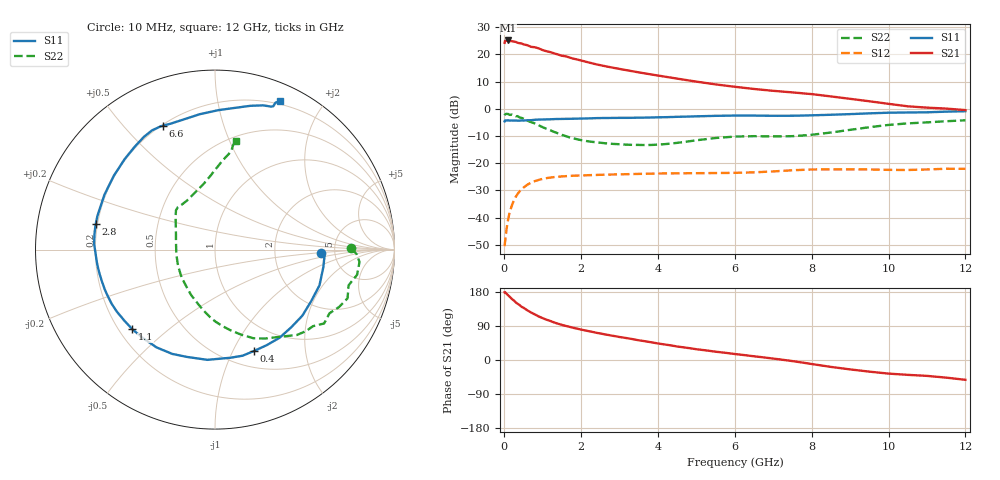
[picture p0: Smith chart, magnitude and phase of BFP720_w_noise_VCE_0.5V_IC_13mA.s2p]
! Infineon Technologies  Discrete & RF Semiconductors
! BFP720
! VCE =  0.5 V,  IC =  13 mA
! Common Emitter S-Parameters:  Aug 2012
# GHz  S  MA  R  50
!  f  S11  S21  S12  S22
! GHz  MAG  ANG  MAG  ANG  MAG  ANG  MAG  ANG
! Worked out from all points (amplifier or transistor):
!   105 points, 10 MHz to 12 GHz, reference 50 ohm
!   highest |S21| = 25.1 dB at 100 MHz (marker M1)
!   |S21| within 3 dB of that: start of sweep to 912.2 MHz
!   unconditionally stable (mu >= 1): start of sweep to 78.97 MHz; 3.673 GHz to end of sweep
!   at 300 MHz: K = 0.37, MSG = 28.4 dB, |S12| = -32.3 dB
!   at 3.6 GHz: K = 0.98, MSG = 18.5 dB, |S12| = -23.9 dB
!   at 12 GHz: K = 1.18, MAG = 8.2 dB, |S12| = -22.0 dB
!   lowest NFmin = 0.59 dB at 450 MHz
!   S11 on the Smith chart (normalised r, x): 10 MHz: 3.85, -0.24; 400 MHz: 0.68, -1.22; 1.1 GHz: 0.25, -0.38; 2.8 GHz: 0.19, +0.10; 6.6 GHz: 0.21, +0.64; 12 GHz: 0.17, +1.52
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0.01  0.5889 -2.0  16.24 178.8  0.003 14.4  0.7588 0.5
0.02  0.6112 -3.4  17.7 179.2  0.0035 29.9  0.7894 -1.8
0.1  0.6153 -18.9  17.99 170.8  0.0091 64.5  0.8042 -10.0
0.2  0.6103 -37.1  17.44 160.9  0.0169 65.6  0.7867 -20.2
0.3  0.6088 -53.8  16.91 152.0  0.0242 60.5  0.7299 -29.1
0.4  0.6051 -68.8  15.99 145.1  0.0305 56.1  0.6929 -38.0
0.45  0.6109 -75.4  15.85 140.5  0.0331 53.8  0.6813 -41.7
0.6  0.6157 -93.9  14.71 131.1  0.0403 46.9  0.6054 -53.4
0.7  0.618 -104.6  13.74 125.3  0.0441 42.9  0.5683 -60.7
0.8  0.6281 -112.3  13.48 120.1  0.047 39.5  0.5379 -66.6
0.9  0.6348 -120.9  12.84 114.8  0.0495 36.2  0.4966 -72.8
1.1  0.6395 -136.0  11.41 106.4  0.0533 30.4  0.4287 -84.3
1.5  0.6516 -157.2  9.425 92.7  0.0573 22.3  0.3322 -103.5
2.1  0.6636 -176.2  7.393 78.2  0.06 15.0  0.2582 -128.8
2.8  0.6798 168.0  5.732 64.3  0.0621 9.7  0.2274 -151.9
4.1  0.6996 142.0  3.976 42.1  0.0649 2.7  0.2222 167.9
5  0.7278 127.7  3.154 28.4  0.0657 -1.2  0.2643 145.9
6.1  0.7508 117.1  2.49 14.7  0.0669 -3.9  0.31 133.9
6.6  0.7488 112.8  2.276 8.6  0.0686 -4.5  0.3137 130.2
8.5  0.7769 88.7  1.688 -18.2  0.0771 -15.1  0.3666 100.8
10.5  0.8556 68.6  1.111 -39.2  0.0752 -23.6  0.5395 81.7
12  0.9029 66.2  0.946 -52.3  0.079 -30.3  0.6151 79.1
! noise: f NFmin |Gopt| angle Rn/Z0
0.45  0.59  0.25  1  0.17
1.8  0.65  0.23  16  0.13
2.4  0.7  0.21  29  0.37
5.5  0.86  0.09  -13  0.17
10  1.05  0.42  -76  0.26
